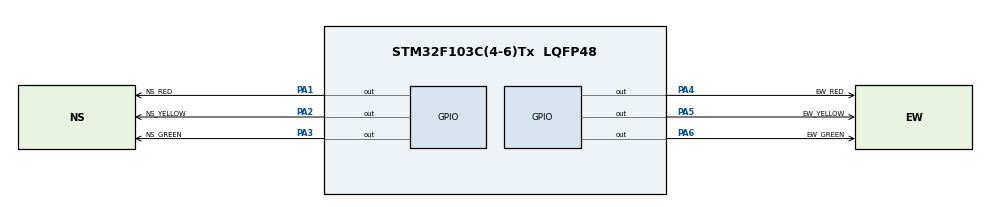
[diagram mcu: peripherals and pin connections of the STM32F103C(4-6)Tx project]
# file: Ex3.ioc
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Mcu.Family=STM32F1
Mcu.Name=STM32F103C(4-6)Tx
Mcu.Package=LQFP48
NVIC.PriorityGroup=NVIC_PRIORITYGROUP_4
PA1.GPIO_Label=NS_RED
PA1.Signal=GPIO_Output
PA2.GPIO_Label=NS_YELLOW
PA2.Signal=GPIO_Output
PA3.GPIO_Label=NS_GREEN
PA3.Signal=GPIO_Output
PA4.GPIO_Label=EW_RED
PA4.Signal=GPIO_Output
PA5.GPIO_Label=EW_YELLOW
PA5.Signal=GPIO_Output
PA6.GPIO_Label=EW_GREEN
PA6.Signal=GPIO_Output
ProjectManager.HeapSize=0x200
ProjectManager.StackSize=0x400
ProjectManager.TargetToolchain=STM32CubeIDE
RCC.APB1Freq_Value=8000000
RCC.APB2Freq_Value=8000000
VP_SYS_VS_ND.Mode=No_Debug
board=custom

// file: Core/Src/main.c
/* USER CODE BEGIN Header */
/**
  ******************************************************************************
  * @file           : main.c
  * @brief          : Main program body
  ******************************************************************************
  * @attention
  *
  * <h2><center>&copy; Copyright (c) 2025 STMicroelectronics.
  * All rights reserved.</center></h2>
  *
  * This software component is licensed by ST under BSD 3-Clause license,
  * the "License"; You may not use this file except in compliance with the
  * License. You may obtain a copy of the License at:
  *                        opensource.org/licenses/BSD-3-Clause
  *
  ******************************************************************************
  */
/* USER CODE END Header */
#include "main.h"

void SystemClock_Config(void);
static void MX_GPIO_Init(void);

/* USER CODE BEGIN 0 */
void Control_NS(GPIO_PinState  RED_STATE, GPIO_PinState  YELLOW_STATE, GPIO_PinState  GREEN_STATE)
{
	 HAL_GPIO_WritePin(GPIOA, NS_RED_Pin, RED_STATE);
	 HAL_GPIO_WritePin(GPIOA, NS_YELLOW_Pin, YELLOW_STATE);
	 HAL_GPIO_WritePin(GPIOA, NS_GREEN_Pin, GREEN_STATE);
}
void Control_EW(GPIO_PinState  RED_STATE, GPIO_PinState  YELLOW_STATE, GPIO_PinState  GREEN_STATE)
{
	 HAL_GPIO_WritePin(GPIOA, EW_RED_Pin, RED_STATE);
	 HAL_GPIO_WritePin(GPIOA, EW_YELLOW_Pin, YELLOW_STATE);
	 HAL_GPIO_WritePin(GPIOA, EW_GREEN_Pin, GREEN_STATE);
}

/* USER CODE END 0 */

int main(void)
{

  /* MCU Configuration--------------------------------------------------------*/

  /* Reset of all peripherals, Initializes the Flash interface and the Systick. */
  HAL_Init();

  /* Configure the system clock */
  SystemClock_Config();

  /* Initialize all configured peripherals */
  MX_GPIO_Init();

  /* Infinite loop */
  /* USER CODE BEGIN WHILE */
  uint16_t count = 0;
  while (1)
  {
	  // ----- North-South -----
	      if(count < 5)
	          Control_NS(GPIO_PIN_SET, GPIO_PIN_RESET, GPIO_PIN_RESET);

	      else if(count < 8)
	          Control_NS(GPIO_PIN_RESET, GPIO_PIN_RESET, GPIO_PIN_SET);

	      else if(count < 10)
	          Control_NS(GPIO_PIN_RESET, GPIO_PIN_SET, GPIO_PIN_RESET);

	      // ----- East-West -----
	      if(count < 3)
	          Control_EW(GPIO_PIN_RESET, GPIO_PIN_RESET, GPIO_PIN_SET);

	      else if(count < 5)
	          Control_EW(GPIO_PIN_RESET, GPIO_PIN_SET, GPIO_PIN_RESET);

	      else if(count < 10)
	          Control_EW(GPIO_PIN_SET, GPIO_PIN_RESET, GPIO_PIN_RESET);

	      count++;
	      if(count >= 10) count = 0;

	      HAL_Delay(1000);

    /* USER CODE END WHILE */

  }
}

void SystemClock_Config(void)
{
  RCC_OscInitTypeDef RCC_OscInitStruct = {0};
  RCC_ClkInitTypeDef RCC_ClkInitStruct = {0};

  /** Initializes the RCC Oscillators according to the specified parameters
  * in the RCC_OscInitTypeDef structure.
  */
  RCC_OscInitStruct.OscillatorType = RCC_OSCILLATORTYPE_HSI;
  RCC_OscInitStruct.HSIState = RCC_HSI_ON;
  RCC_OscInitStruct.HSICalibrationValue = RCC_HSICALIBRATION_DEFAULT;
  RCC_OscInitStruct.PLL.PLLState = RCC_PLL_NONE;
  if (HAL_RCC_OscConfig(&RCC_OscInitStruct) != HAL_OK)
  {
    Error_Handler();
  }
  /** Initializes the CPU, AHB and APB buses clocks
  */
  RCC_ClkInitStruct.ClockType = RCC_CLOCKTYPE_HCLK|RCC_CLOCKTYPE_SYSCLK
                              |RCC_CLOCKTYPE_PCLK1|RCC_CLOCKTYPE_PCLK2;
  RCC_ClkInitStruct.SYSCLKSource = RCC_SYSCLKSOURCE_HSI;
  RCC_ClkInitStruct.AHBCLKDivider = RCC_SYSCLK_DIV1;
  RCC_ClkInitStruct.APB1CLKDivider = RCC_HCLK_DIV1;
  RCC_ClkInitStruct.APB2CLKDivider = RCC_HCLK_DIV1;

  if (HAL_RCC_ClockConfig(&RCC_ClkInitStruct, FLASH_LATENCY_0) != HAL_OK)
  {
    Error_Handler();
  }
}

static void MX_GPIO_Init(void)
{
  GPIO_InitTypeDef GPIO_InitStruct = {0};

  /* GPIO Ports Clock Enable */
  __HAL_RCC_GPIOA_CLK_ENABLE();

  /*Configure GPIO pin Output Level */
  HAL_GPIO_WritePin(GPIOA, NS_RED_Pin|NS_YELLOW_Pin|NS_GREEN_Pin|EW_RED_Pin
                          |EW_YELLOW_Pin|EW_GREEN_Pin, GPIO_PIN_RESET);

  /*Configure GPIO pins : NS_RED_Pin NS_YELLOW_Pin NS_GREEN_Pin EW_RED_Pin
                           EW_YELLOW_Pin EW_GREEN_Pin */
  GPIO_InitStruct.Pin = NS_RED_Pin|NS_YELLOW_Pin|NS_GREEN_Pin|EW_RED_Pin
                          |EW_YELLOW_Pin|EW_GREEN_Pin;
  GPIO_InitStruct.Mode = GPIO_MODE_OUTPUT_PP;
  GPIO_InitStruct.Pull = GPIO_NOPULL;
  GPIO_InitStruct.Speed = GPIO_SPEED_FREQ_LOW;
  HAL_GPIO_Init(GPIOA, &GPIO_InitStruct);

}

void Error_Handler(void)
{
  __disable_irq();
  while (1)
  {
  }
}

/************************ (C) COPYRIGHT STMicroelectronics *****END OF FILE****/
